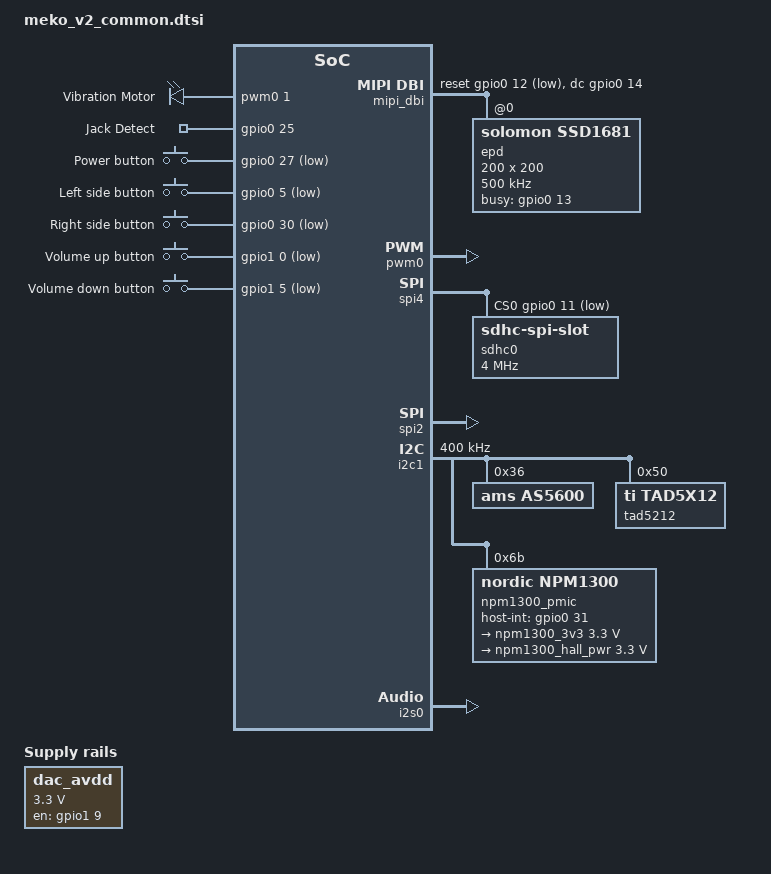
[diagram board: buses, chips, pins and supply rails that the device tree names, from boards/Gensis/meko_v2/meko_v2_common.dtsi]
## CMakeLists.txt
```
cmake_minimum_required(VERSION 3.20.0)

if(NOT DEFINED CMAKE_EXPORT_COMPILE_COMMANDS)
  set(CMAKE_EXPORT_COMPILE_COMMANDS ON CACHE BOOL "Export compile_commands.json" FORCE)
endif()

# Allow Zephyr to discover custom boards in this repository (eno-os/boards/*).
list(APPEND BOARD_ROOT ${CMAKE_CURRENT_LIST_DIR})

# Vendored SSD16XX display driver (see modules/display_ssd16xx/Kconfig).
list(APPEND ZEPHYR_EXTRA_MODULES ${CMAKE_CURRENT_LIST_DIR}/modules/display_ssd16xx)

find_package(Zephyr REQUIRED HINTS $ENV{ZEPHYR_BASE})

project(eno-os)

target_sources(app PRIVATE
  src/main.c
  src/buttons.c
  src/knob.c
  src/audio.c
  src/ui.c
  src/i1_decoder.c
  src/browser.c
  src/metadata.c
  src/art.c
  src/icons.c
  src/decoder.c
  src/flac.c
  lib/sd_card.c
  lib/helix/mp3dec.c
  lib/helix/mp3tabs.c
  lib/helix/real/bitstream.c
  lib/helix/real/buffers.c
  lib/helix/real/dct32.c
  lib/helix/real/dequant.c
  lib/helix/real/dqchan.c
  lib/helix/real/huffman.c
  lib/helix/real/hufftabs.c
  lib/helix/real/imdct.c
  lib/helix/real/polyphase.c
  lib/helix/real/scalfact.c
  lib/helix/real/stproc.c
  lib/helix/real/subband.c
  lib/helix/real/trigtabs.c
)

target_include_directories(app PRIVATE
  ${CMAKE_CURRENT_LIST_DIR}/lib
  ${CMAKE_CURRENT_LIST_DIR}/lib/helix
  ${CMAKE_CURRENT_LIST_DIR}/lib/helix/pub
  ${CMAKE_CURRENT_LIST_DIR}/lib/helix/real
)

# Helix and the FLAC decoder must decode faster than realtime; the
# app-wide -Og (debug optimizations) is too slow for 44.1 kHz stereo
set_source_files_properties(
  lib/helix/mp3dec.c
  lib/helix/mp3tabs.c
  lib/helix/real/bitstream.c
  lib/helix/real/buffers.c
  lib/helix/real/dct32.c
  lib/helix/real/dequant.c
  lib/helix/real/dqchan.c
  lib/helix/real/huffman.c
  lib/helix/real/hufftabs.c
  lib/helix/real/imdct.c
  lib/helix/real/polyphase.c
  lib/helix/real/scalfact.c
  lib/helix/real/stproc.c
  lib/helix/real/subband.c
  lib/helix/real/trigtabs.c
  src/flac.c
  PROPERTIES COMPILE_OPTIONS "-O2"
)
```

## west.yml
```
manifest:
  remotes:
    # Define the Nordic remote source
    - name: ncs
      url-base: https://github.com/nrfconnect
    - name: koeg
      url-base: https://github.com/KOEGlike

  projects:
    # Import the official nRF Connect SDK manifest
    - name: sdk-nrf
      remote: ncs
      path: nrf
      revision: v3.4.0  # <--- LOCK YOUR VERSION HERE (e.g., v2.5.0, v2.7.0, main)
      import: true      # This imports all sub-dependencies (zephyr, mbedtls, etc.)

    - name: tad5x12
      remote: koeg
      revision: main
      path: modules/lib/tad5x12
  
  self:
    # This defines where this repository (eno-os) will sit 
    # relative to the workspace root.
    path: eno-os
```

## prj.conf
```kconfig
CONFIG_MAIN_STACK_SIZE=16384
CONFIG_HEAP_MEM_POOL_SIZE=32768

CONFIG_DEBUG_OPTIMIZATIONS=y
CONFIG_DEBUG_THREAD_INFO=y

CONFIG_LOG_CMDS=y
CONFIG_LOG_DEFAULT_LEVEL=3
CONFIG_LOG_MAX_LEVEL=3

# Enable RTT
CONFIG_USE_SEGGER_RTT=y
CONFIG_SEGGER_RTT_MODE_NO_BLOCK_SKIP=y
CONFIG_SEGGER_RTT_BUFFER_SIZE_DOWN=8192
CONFIG_SEGGER_RTT_BUFFER_SIZE_UP=8192
CONFIG_SEGGER_RTT_PRINTF_BUFFER_SIZE=8192
CONFIG_RTT_CONSOLE=y

# Enable log on RTT
CONFIG_LOG=y
CONFIG_LOG_BACKEND_RTT=y
CONFIG_LOG_BACKEND_RTT_BUFFER=1
CONFIG_LOG_BACKEND_RTT_MODE_DROP=y
CONFIG_LOG_BACKEND_RTT_MODE_BLOCK=n
CONFIG_LOG_BACKEND_RTT_BUFFER_SIZE=8192
CONFIG_LOG_BACKEND_UART=n

# Log settings
CONFIG_LOG_PRINTK=y
CONFIG_LOG_MODE_DEFERRED=y
CONFIG_LOG_MODE_OVERFLOW=y
CONFIG_LOG_BLOCK_IN_THREAD=n
CONFIG_LOG_BUFFER_SIZE=8192
CONFIG_LOG_PROCESS_THREAD=y

# Shell settings
CONFIG_PRINTK=y
CONFIG_PRINTK_SYNC=y
CONFIG_SHELL=y
CONFIG_CONSOLE=y
CONFIG_RTT_CONSOLE=y
CONFIG_SHELL_BACKEND_RTT=y
CONFIG_SHELL_BACKEND_SERIAL=n
CONFIG_SHELL_MINIMAL=n
CONFIG_SHELL_STACK_SIZE=8192
CONFIG_SHELL_BYPASS_READ_BUF_SIZE=512
CONFIG_KERNEL_SHELL=y
CONFIG_DEVICE_SHELL=y
CONFIG_STATS=y
CONFIG_STATS_SHELL=y
CONFIG_STDOUT_CONSOLE=y
CONFIG_UART_CONSOLE=n

# Disable uart
CONFIG_TFM_SECURE_UART=n
CONFIG_UART_CONSOLE=n
CONFIG_TFM_LOG_LEVEL_SILENCE=y

CONFIG_REGULATOR_LOG_LEVEL_ERR=y
CONFIG_DISPLAY_LOG_LEVEL_ERR=y
CONFIG_SENSOR_LOG_LEVEL_ERR=y

# Enable file system
CONFIG_FILE_SYSTEM=y
CONFIG_DISK_ACCESS=y
CONFIG_FAT_FILESYSTEM_ELM=y
CONFIG_FS_FATFS_LFN=y
# LFN in heap mode (instead of the default BSS) is required to allow
# the re-entrancy option below
CONFIG_FS_FATFS_LFN_MODE_HEAP=y
# The audio pump thread reads files while the main thread does
# metadata/art scans: without FatFs re-entrancy (per-volume mutex)
# the shared sector window corrupts and the system crashes
CONFIG_FS_FATFS_REENTRANT=y
# pump song + APIC scan + art data handle, with shell headroom
CONFIG_FS_FATFS_NUM_FILES=6

# Enable audio stuff
CONFIG_AUDIO_CODEC_LOG_LEVEL_DBG=y
CONFIG_AUDIO_CODEC_TAD5X12=y
CONFIG_AUDIO=y
CONFIG_AUDIO_CODEC=y
CONFIG_NRFX_I2S=y
CONFIG_I2S=y
CONFIG_I2S_LOG_LEVEL_ERR=y
CONFIG_I2S_NRFX_TX_BLOCK_COUNT=16
CONFIG_I2S_NRFX_RX_BLOCK_COUNT=4

# Drivers
CONFIG_LED=y
CONFIG_GPIO=y
CONFIG_PWM=y
CONFIG_MFD=y
CONFIG_DISPLAY=y
CONFIG_REGULATOR=y
CONFIG_SENSOR=y
CONFIG_AMS_AS5600=y

# Use the vendored SSD16XX driver (gen2 partial refresh fix) instead
# of the in-tree one. See modules/display_ssd16xx/Kconfig.
CONFIG_SSD16XX=n
CONFIG_SSD16XX_EPD=y

# Codec init must run after the dac_avdd fixed regulator (priority 75)
CONFIG_AUDIO_CODEC_INIT_PRIORITY=80

# LVGL CONFIG
CONFIG_LVGL=y
# LVGL's I1 buffer marks white pixels as 1; without this the mono
# transform renders the screen color-inverted on EPD panels
CONFIG_LV_Z_COLOR_MONO_HW_INVERSION=y
CONFIG_LV_Z_SHELL=y
CONFIG_LV_Z_LVGL_MUTEX=y
CONFIG_LV_COLOR_DEPTH_1=y
CONFIG_LV_Z_VDB_SIZE=64
# +1 KB slack: the LVGL heap pool ends directly before the idle
# thread TCB; a pool-tail allocation overflowing its chunk was
# corrupting idle's saved context (wild-jump crashes). The slack
# keeps such overflows inside the pool.
CONFIG_LV_Z_MEM_POOL_SIZE=17408
# Catch heap metadata damage early (asserts inside sys_heap/lvgl)
CONFIG_ASSERT=y
# real numbers for the periodic LVGL heap stats log
CONFIG_SYS_HEAP_RUNTIME_STATS=y
CONFIG_LV_Z_FULL_REFRESH=n
# Flush synchronously: e-ink updates are slow anyway, and it keeps
# display_blanking_on/off() calls in the app race-free with flushes
CONFIG_LV_Z_FLUSH_THREAD=n
CONFIG_LV_USE_LOG=y
CONFIG_LV_LOG_LEVEL_WARN=y

# Debug stack corruption
CONFIG_THREAD_STACK_INFO=y
CONFIG_STACK_SENTINEL=y
CONFIG_HW_STACK_PROTECTION=y
CONFIG_ISR_STACK_SIZE=8192

# Corruption diagnostics: the LVGL heap pool sits directly before the
# idle thread TCB; a pool-tail overflow corrupts idle's saved context
# (wild-jump crashes). INIT_STACKS fills unused stack with 0xaa so
# garbage registers in fault dumps are recognizable; THREAD_ANALYZER
# reports per-thread stack headroom over RTT; THREAD_NAME labels it.
CONFIG_INIT_STACKS=y
CONFIG_THREAD_ANALYZER=y
CONFIG_THREAD_NAME=y
CONFIG_THREAD_ANALYZER_AUTO=y
CONFIG_REBOOT=y
CONFIG_MAIN_STACK_SIZE=20480
# The e-ink refresh inside the main loop busy-waits ~200-300 ms per
# update; the audio pump (priority 1) must preempt it or the I2S
# queue starves during every screen update at high sample rates
CONFIG_MAIN_THREAD_PRIORITY=2
# nRF5340 anomaly 160: VREGMAIN/VREGRADIO can malfunction when the
# CPU rapidly switches between active and sleep (observed here as
# corrupted instruction fetches -> undefined-instruction faults, and
# SD "Bad data CRC" wire errors, both during sleep/wake-heavy audio
# playback). The Zephyr workaround (rate-limiting sleep re-entry in
# the idle path) is only auto-enabled for DC/DC-mode regulators; our
# board runs LDO mode, but the same failure signature applies, so
# force the workaround on.
CONFIG_SOC_NRF53_ANOMALY_160_WORKAROUND_NEEDED=y

# Caches on: without I-cache, XIP code runs a fraction of speed and
# MP3 decode can't sustain realtime. nRF53's cache is system-coherent
# for EasyDMA masters, and the I2S slab is owned end-to-end now.
CONFIG_NRF_ENABLE_CACHE=y

# Logging thread stack (deferred logging can be stack-heavy)
CONFIG_LOG_PROCESS_THREAD_STACK_SIZE=2048

# Enable LVGL widgets
CONFIG_LV_CONF_MINIMAL=y
CONFIG_LV_USE_LABEL=y
CONFIG_LV_LABEL_TEXT_SELECTION=y
CONFIG_LV_LABEL_LONG_TXT_HINT=y
CONFIG_LV_USE_LINE=y

# fonts
CONFIG_LV_FONT_MONTSERRAT_12=y
CONFIG_LV_FONT_MONTSERRAT_14=y
CONFIG_LV_FONT_MONTSERRAT_16=y
CONFIG_LV_FONT_MONTSERRAT_18=y
CONFIG_LV_FONT_MONTSERRAT_24=y

# image widget + baseline JPEG decoder for the album art player view
CONFIG_LV_USE_IMAGE=y
CONFIG_LV_USE_TJPGD=y
```

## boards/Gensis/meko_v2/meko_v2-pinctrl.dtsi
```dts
&pinctrl {
    i2s0_default: i2s0_default {
        group2 {
            psels = <NRF_PSEL(I2S_SCK_M, 0, 26)>,
                    <NRF_PSEL(I2S_LRCK_M, 0, 24)>,
                    <NRF_PSEL(I2S_SDOUT, 1, 6)>,
                    <NRF_PSEL(I2S_SDIN, 1, 8)>;
        };
    };

    i2s0_sleep: i2s0_sleep {
        group1 {
            psels = <NRF_PSEL(I2S_SCK_M, 0, 26)>,
                    <NRF_PSEL(I2S_LRCK_M, 0, 24)>,
                    <NRF_PSEL(I2S_SDOUT, 1, 6)>,
                    <NRF_PSEL(I2S_SDIN, 1, 8)>;
            low-power-enable;
        };
    };

    pwm0_default: pwm0_default {
        group1 {
            psels = <NRF_PSEL(PWM_OUT1, 1, 15)>;
        };
    };

    pwm0_sleep: pwm0_sleep {
        group1 {
            psels = <NRF_PSEL(PWM_OUT1, 1, 15)>;
            low-power-enable;
        };
    };

    spi4_default: spi4_default {
        group1 {
            psels = <NRF_PSEL(SPIM_SCK, 0, 8)>,
                    <NRF_PSEL(SPIM_MOSI, 0, 9)>;
            /* Workaround for issue with PCA10121 v0.7.0
             * related to SD-card
             */
            nordic,drive-mode = <NRF_DRIVE_H0H1>;
        };

        group2 {
            psels = <NRF_PSEL(SPIM_MISO, 0, 10)>;
        };
    };

    spi4_sleep: spi4_sleep {
        group1 {
            psels = <NRF_PSEL(SPIM_SCK, 0, 8)>,
                    <NRF_PSEL(SPIM_MISO, 0, 10)>,
                    <NRF_PSEL(SPIM_MOSI, 0, 9)>;
            low-power-enable;
        };
    };

    spi2_default: spi2_default {
        group1 {
            psels = <NRF_PSEL(SPIM_SCK, 0, 15)>,
                    <NRF_PSEL(SPIM_MOSI, 0, 17)>; /* DIN */
                };
    };

    spi2_sleep: spi2_sleep {
        group1 {
            psels = <NRF_PSEL(SPIM_SCK, 0, 15)>,
                    <NRF_PSEL(SPIM_MOSI, 0, 17)>;
            low-power-enable;
        };
    };

    i2c1_default: i2c1_default {
        group1 {
            psels = <NRF_PSEL(TWIM_SDA, 1, 2)>,
                    <NRF_PSEL(TWIM_SCL, 1, 3)>;
            bias-pull-up;

        };
    };

    i2c1_sleep: i2c1_sleep {
        group1 {
            psels = <NRF_PSEL(TWIM_SDA, 1, 2)>,
                    <NRF_PSEL(TWIM_SCL, 1, 3)>;
            low-power-enable;
        };
    };
};
```

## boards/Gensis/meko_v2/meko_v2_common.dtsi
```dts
#include <zephyr/dt-bindings/mipi_dbi/mipi_dbi.h>
#include <dt-bindings/regulator/npm13xx.h>

/ {

    chosen {
        zephyr,display=&epd;
    };

    aliases {
        vib-motor = &vib_motor;
    };

    pwm_motor_driver {
        compatible = "pwm-leds";

        vib_motor: vib_motor {
            pwms = <&pwm0 1 PWM_MSEC(20) PWM_POLARITY_NORMAL>;
            label = "Vibration Motor";
        };
    };

    dac_avdd: dac-avdd {
        compatible = "regulator-fixed";
        regulator-name = "sensor_supply";

        regulator-min-microvolt = <3300000>;
        regulator-max-microvolt = <3300000>;

        enable-gpios = <&gpio1 9 GPIO_ACTIVE_HIGH>;

        startup-delay-us = <1000>;
        regulator-boot-on;
    };

    jack_det {
        compatible = "gpio-keys";
        jack_insert: jack_insert {
            gpios = <&gpio0 25 (GPIO_PULL_UP | GPIO_ACTIVE_HIGH)>;
            label = "Jack Detect";
        };
    };

    buttons {
        compatible = "gpio-keys";

        debounce-interval-ms = <300>;

        button_power: button-0 {
            gpios = <&gpio0 27 (GPIO_PULL_UP | GPIO_ACTIVE_LOW)>;
            label = "Power button";
            zephyr,code = <INPUT_KEY_0>;
        };

        button_side_left: button-1 {
            gpios = <&gpio0 5 (GPIO_PULL_UP | GPIO_ACTIVE_LOW)>;
            label = "Left side button";
            zephyr,code = <INPUT_KEY_1>;
        };

        button_side_right: button-2 {
            gpios = <&gpio0 30 (GPIO_PULL_UP | GPIO_ACTIVE_LOW)>;
            label = "Right side button";
            zephyr,code = <INPUT_KEY_2>;
        };

        button_volume_up: button-3 {
            gpios = <&gpio1 0 (GPIO_PULL_UP | GPIO_ACTIVE_LOW)>;
            label = "Volume up button";
            zephyr,code = <INPUT_KEY_3>;
        };

        button_volume_down: button-4 {
            gpios = <&gpio1 5 (GPIO_PULL_UP | GPIO_ACTIVE_LOW)>;
            label = "Volume down button";
            zephyr,code = <INPUT_KEY_4>;
        };
    };

    mipi_dbi {
        status = "okay";
        compatible = "zephyr,mipi-dbi-spi";
        spi-dev = <&spi2>;

        dc-gpios = <&gpio0  14 GPIO_ACTIVE_HIGH>;
        reset-gpios = <&gpio0 12 GPIO_ACTIVE_LOW>;

        #address-cells = <1>;
        #size-cells = <0>;

        epd: ssd16xx@0 {
            status = "okay";
            compatible = "solomon,ssd1681";
            mipi-max-frequency = <500000>;
            reg = <0>;

            width = <200>;
            height = <200>;

            rotation = <270>;

            busy-gpios = <&gpio0 13 GPIO_ACTIVE_HIGH>;

            tssv = <0x80>;

            full {
                border-waveform = <0x05>;
            };

            partial {
                /*
                 * Partial refresh waveform for SSD1681-based 200x200
                 * panels (Waveshare/GoodDisplay WF_PARTIAL_1IN54_0).
                 * lut is the 0x32 payload; the remaining table entries
                 * map to gdv (0x03), sdv (0x04) and vcom (0x2C). The
                 * vendored driver additionally writes the vendor
                 * "Option for LUT end" value (0x3F) for this profile.
                 */
                border-waveform = <0x80>;
                vcom = <0x28>;
                gdv = [17];
                sdv = [41 b0 32];
                lut = [
                    00 40 00 00 00 00 00 00 00 00 00 00
                    80 80 00 00 00 00 00 00 00 00 00 00
                    40 40 00 00 00 00 00 00 00 00 00 00
                    00 80 00 00 00 00 00 00 00 00 00 00
                    00 00 00 00 00 00 00 00 00 00 00 00
                    0f 00 00 00 00 00 00
                    01 01 00 00 00 00 00
                    00 00 00 00 00 00 00
                    00 00 00 00 00 00 00
                    00 00 00 00 00 00 00
                    00 00 00 00 00 00 00
                    00 00 00 00 00 00 00
                    00 00 00 00 00 00 00
                    00 00 00 00 00 00 00
                    00 00 00 00 00 00 00
                    00 00 00 00 00 00 00
                    00 00 00 00 00 00 00
                    22 22 22 22 22 22 00 00 00
                ];
            };
        };
    };
};

&pwm0 {
    status = "okay";
    pinctrl-0 = <&pwm0_default>;
    pinctrl-1 = <&pwm0_sleep>;
    pinctrl-names = "default", "sleep";
};

&gpio0 {
    status = "okay";
};

&gpio1 {
    status = "okay";
};

&gpiote {
    status = "okay";
};

&hfxo {
    load-capacitors = "internal";
    load-capacitance-femtofarad = <12000>;
};

&lfxo {
    load-capacitors = "internal";
    load-capacitance-picofarad = <7>;
};

&spi4 {
    compatible = "nordic,nrf-spim";
    status = "okay";
    cs-gpios = <&gpio0 11 GPIO_ACTIVE_LOW>;
    pinctrl-0 = <&spi4_default>;
    pinctrl-1 = <&spi4_sleep>;
    pinctrl-names = "default", "sleep";

	sdhc0: sdhc@0 {
		compatible = "zephyr,sdhc-spi-slot";
		reg = <0>;
		status = "okay";
		/* 4 MHz: 8 MHz produced "Bad data CRC" hardware errors
		 * under load (SPI signal margin), while 2 MHz is too
		 * slow for 44.1 kHz FLAC reads. If CRC errors ever
		 * reappear, drop back to 2000000 and widen the pump
		 * queue instead.
		 */
		spi-max-frequency = <4000000>;

        sdmmc {
            compatible = "zephyr,sdmmc-disk";
            disk-name = "SD";
            status = "okay";
        };
    };
};

&spi2 {
    compatible = "nordic,nrf-spim";
    status = "okay";
    pinctrl-0 = <&spi2_default>;
    pinctrl-1 = <&spi2_sleep>;
    pinctrl-names = "default", "sleep";
    cs-gpios = <&gpio0 16 GPIO_ACTIVE_LOW>;
};

&i2c1 {
    compatible = "nordic,nrf-twim";
    status = "okay";
    pinctrl-0 = <&i2c1_default>;
    pinctrl-1 = <&i2c1_sleep>;
    pinctrl-names = "default", "sleep";
    clock-frequency = <I2C_BITRATE_FAST>;

    as5600: as5600@36 {
        compatible = "ams,as5600";
        reg = <0x36>;

        friendly-name = "hall rotation sensor";
    };

    tad5212: tad5212@50 {
        compatible = "ti,tad5x12";
        status = "okay";

        reg = <0x50>;

        ti,out1-src = <1>;        /* DAC input */
        ti,out1-cfg = <2>;        /* mono single-ended at OUT1P */
        ti,out1-drive = <1>;      /* headphone */
        ti,out1-analog-level = <4>; /* 0 dB */
        ti,out2-src = <1>;        /* DAC input */
        ti,out2-cfg = <2>;        /* mono single-ended at OUT2P */
        ti,out2-drive = <1>;      /* headphone */
        ti,out2-analog-level = <4>; /* 0 dB */
    };

    npm1300_pmic: npm1300@6b {
        compatible = "nordic,npm1300";
        reg = <0x6b>;

        host-int-gpios = <&gpio0 31 0>;
        pmic-int-pin = <1>;

        npm1300_leds: led-controller {
            compatible = "nordic,npm1300-led";

            nordic,led0-mode = "host";
            nordic,led1-mode = "host";
            nordic,led2-mode = "host";
        };

        npm1300_charger: charger {
            compatible = "nordic,npm1300-charger";
            term-microvolt = <4150000>;
            term-warm-microvolt = <4000000>;
            current-microamp = <150000>;
            dischg-limit-microamp = <1000000>;
            vbus-limit-microamp = <500000>;
            thermistor-ohms = <10000>;
            thermistor-beta = <3380>;
            charging-enable;
        };


        npm1300_regulators: regulators {
            compatible = "nordic,npm1300-regulator";

            npm1300_buck1: BUCK1 {
                status = "disabled";
            };

            npm1300_3v3: BUCK2 {
                regulator-min-microvolt = <3300000>;
                regulator-max-microvolt = <3300000>;
                regulator-boot-on;
            };

            npm1300_hall_pwr: LDO1 {
                regulator-min-microvolt = <3300000>;
                regulator-max-microvolt = <3300000>;
                regulator-initial-mode = <NPM13XX_LDSW_MODE_LDO>;
                regulator-boot-on;
            };

            npm1300_ldo2: LDO2 {
                status = "disabled";
            };
        };
    };
};

&i2s0 {
    compatible = "nordic,nrf-i2s";
    status = "okay";
    pinctrl-0 = <&i2s0_default>;
    pinctrl-1 = <&i2s0_sleep>;
    pinctrl-names = "default", "sleep";
};
```

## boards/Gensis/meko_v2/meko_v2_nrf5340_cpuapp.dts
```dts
/dts-v1/;
#include <nordic/nrf5340_cpuapp_qkaa.dtsi>
#include "meko_v2-pinctrl.dtsi"
#include "meko_v2_common.dtsi"

/ {
	model = "a music player (CPUAPP)";
	compatible = "Gensis,meko-v2-cpuapp";

	chosen {
		zephyr,sram = &sram0_image;
		zephyr,flash = &flash0;
		zephyr,code-partition = &slot0_partition;
		zephyr,sram-secure-partition = &sram0_s;
		zephyr,sram-non-secure-partition = &sram0_ns;
	};
};

#include "meko_v2-cpuapp_partitioning.dtsi"
#include "meko_v2-shared_sram.dtsi"
```

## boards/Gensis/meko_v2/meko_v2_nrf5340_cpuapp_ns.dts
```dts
/dts-v1/;
#include <nordic/nrf5340_cpuappns_qkaa.dtsi>
#include "meko_v2-pinctrl.dtsi"
#include "meko_v2_common.dtsi"

/ {
	model = "a music player (CPUAPP Non-Secure)";
	compatible = "Gensis,meko-v2-cpuapp-ns";

	chosen {
		zephyr,sram = &sram0_ns;
		zephyr,flash = &flash0;
		zephyr,code-partition = &slot0_ns_partition;
	};
};

#include "meko_v2-cpuapp_partitioning.dtsi"
#include "meko_v2-shared_sram.dtsi"
```

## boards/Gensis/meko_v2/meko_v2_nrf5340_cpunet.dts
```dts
/dts-v1/;
#include <nordic/nrf5340_cpunet_qkaa.dtsi>
#include "meko_v2-pinctrl.dtsi"
#include "meko_v2_common.dtsi"

/ {
	model = "a music player";
	compatible = "Gensis,meko-v2-cpunet";

	chosen {
		zephyr,sram = &sram1;
		zephyr,flash = &flash1;
		zephyr,code-partition = &slot0_partition;
	};
};

&flash1 {
	partitions {
		compatible = "fixed-partitions";
		#address-cells = <1>;
		#size-cells = <1>;

		boot_partition: partition@0 {
			label = "mcuboot";
			reg = <0x00000000 DT_SIZE_K(48)>;
		};

		slot0_partition: partition@c000 {
			label = "image-0";
			reg = <0x0000c000 DT_SIZE_K(92)>;
		};

		slot1_partition: partition@23000 {
			label = "image-1";
			reg = <0x00023000 DT_SIZE_K(92)>;
		};

		storage_partition: partition@3a000 {
			label = "storage";
			reg = <0x0003a000 DT_SIZE_K(24)>;
		};
	};
};

#include "meko_v2-shared_sram.dtsi"
```

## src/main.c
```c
#include <zephyr/kernel.h>
#include <zephyr/logging/log.h>
#include <zephyr/fatal.h>
#include <zephyr/logging/log.h>
#include <zephyr/sys/reboot.h>
#include <zephyr/sys/mem_stats.h>
#include <string.h>

#include <lvgl.h>
#include <lvgl_zephyr.h>

#include "main.h"
#include "sd_card.h"
#include "buttons.h"
#include "knob.h"
#include "audio.h"
#include "ui.h"
#include "browser.h"

LOG_MODULE_REGISTER(MAIN, LOG_LEVEL_DBG);

/* The board exhibits rare transient flash-read corruption under load
 * (fault dumps show garbage literal loads inside _isr_wrapper and
 * undefined instructions at valid code; confirmed with two different
 * SD cards). A warm reboot fully restores function and the boot flow
 * never triggers the fault, so auto-recover instead of freezing.
 */
void k_sys_fatal_error_handler(unsigned int reason, const struct arch_esf *esf)
{
	LOG_ERR("Fatal %u pc 0x%08x lr 0x%08x -- rebooting",
		reason,
		(esf != NULL) ? esf->basic.pc : 0,
		(esf != NULL) ? esf->basic.lr : 0);
	sys_reboot(SYS_REBOOT_WARM);

	CODE_UNREACHABLE;
}

/* LVGL heap diagnostics: the LVGL pool sits directly before the idle
 * thread TCB; periodic headroom logs watch for allocation pressure
 * near the pool end while the corruption source is investigated.
 */
extern void lvgl_heap_stats(struct sys_memory_stats *stats);

static struct app_state app = {
	.browser = {
		.cwd = "/SD:",
		.count = 0,
		.selected = 0,
		.scroll_top = 0,
	},
	.ui_mode = UI_MODE_BROWSER,
	.playing_path = {0},
	.playing_dir = {0},
	.playback_state = PLAYBACK_STOPPED,
	.file_open = false,
	.i2s_started = false,
	.elapsed_s = 0,
	.total_s = 0,
	.shuffle = false,
	.loop = false,
	.ui_dirty = true,
	.art_dirty = true,
};

/* Scratch listing for shuffle/next/prev on the playing folder */
static struct browser_entry playlist_entries[MAX_BROWSER_ENTRIES];

/* ------------------------------------------------------------------ */
/* Playback control                                                    */
/* ------------------------------------------------------------------ */

static const char *path_basename(const char *path)
{
	const char *slash = strrchr(path, '/');

	return (slash != NULL) ? slash + 1 : path;
}

static int play_path(struct app_state *state, const char *path, const char *dir)
{
	/* a song explicitly started by the user cancels a pending
	 * auto-advance from a song that just ended
	 */
	atomic_set(&state->advance_request, 0);

	int ret = start_song(state, path);

	if (ret)
	{
		LOG_ERR("Start %s failed: %d", path, ret);
		return ret;
	}

	strncpy(state->playing_path, path, sizeof(state->playing_path) - 1);
	state->playing_path[sizeof(state->playing_path) - 1] = '\0';
	strncpy(state->playing_dir, dir, sizeof(state->playing_dir) - 1);
	state->playing_dir[sizeof(state->playing_dir) - 1] = '\0';
	state->art_dirty = true;

	return 0;
}

static int restart_song(struct app_state *state)
{
	if (state->playing_path[0] == '\0')
	{
		return -ENOENT;
	}

	/* restart reloads the file from byte 0 and plays */
	return play_path(state, state->playing_path, state->playing_dir);
}

/* Find the currently playing entry in a fresh listing of its folder */
static int find_playing_entry(const char *playing_name,
	const struct browser_entry *entries, int count)
{
	for (int i = 0; i < count; i++)
	{
		if (entries[i].is_audio && strcmp(entries[i].name, playing_name) == 0)
		{
			return i;
		}
	}
	return -1;
}

static int next_audio_entry(const struct browser_entry *entries, int count, int from,
	bool forward, bool random)
{
	int audio[MAX_BROWSER_ENTRIES];
	int audio_count = 0;

	for (int i = 0; i < count; i++)
	{
		if (entries[i].is_audio)
		{
			audio[audio_count++] = i;
		}
	}

	if (audio_count == 0)
	{
		return -1;
	}

	if (random)
	{
		if (audio_count == 1)
		{
			return audio[0];
		}

		/* cheap LCG seeded once from the cycle counter: fine for
		 * shuffle play (no crypto needed)
		 */
		static uint32_t rnd;
		static bool seeded;

		if (!seeded)
		{
			rnd = 0x1234abcd ^ k_cycle_get_32();
			seeded = true;
		}
		rnd = rnd * 1664525u + 1013904223u;

		uint32_t pick = rnd % (uint32_t)(audio_count - 1);
		int pos = 0;

		for (int i = 0; i < audio_count; i++)
		{
			if (audio[i] == from)
			{
				pos = i;
				break;
			}
		}
		return audio[(pos + 1 + (int)pick) % audio_count];
	}

	int pos = -1;

	for (int i = 0; i < audio_count; i++)
	{
		if (audio[i] == from)
		{
			pos = i;
			break;
		}
	}
	if (pos < 0)
	{
		pos = 0;
	}

	return forward ? audio[(pos + 1) % audio_count]
		       : audio[(pos + audio_count - 1) % audio_count];
}

static int skip_song(struct app_state *state, bool forward)
{
	char path[MAX_PATH_LEN];
	int idx;

	if (state->playing_dir[0] == '\0')
	{
		return -ENOENT;
	}

	int count = browser_scan_dir(state->playing_dir,
		playlist_entries, MAX_BROWSER_ENTRIES, false);
	if (count <= 0)
	{
		return -ENOENT;
	}

	int from = find_playing_entry(path_basename(state->playing_path),
		playlist_entries, count);

	idx = next_audio_entry(playlist_entries, count, from, forward, state->shuffle);
	if (idx < 0)
	{
		return -ENOENT;
	}

	path_join(state->playing_dir, playlist_entries[idx].name, path, sizeof(path));

	return play_path(state, path, state->playing_dir);
}

/* Called when the pump reports end-of-song: loop repeats the current
 * song, shuffle picks a random other one from the same folder,
 * otherwise play the next one
 */
static void advance_auto(struct app_state *state)
{
	if (state->loop)
	{
		if (restart_song(state))
		{
			stop_playback(state, true, true);
		}
		return;
	}

	if (skip_song(state, true))
	{
		stop_playback(state, true, true);
	}
}

/* ------------------------------------------------------------------ */
/* UI mode + button handling                                           */
/* ------------------------------------------------------------------ */

static void toggle_mode(struct app_state *state)
{
	state->ui_mode = (state->ui_mode == UI_MODE_BROWSER) ? UI_MODE_PLAYER
							     : UI_MODE_BROWSER;
	if (state->ui_mode == UI_MODE_PLAYER)
	{
		state->art_dirty = true;
	}
	ui_switch_mode(state->ui_mode);
	state->ui_dirty = true;
}

static void browser_single_left(struct app_state *state)
{
	/* go up a directory; at the root this is a no-op */
	if (browser_up(&state->browser))
	{
		state->ui_dirty = true;
	}
}

static void browser_single_right(struct app_state *state)
{
	struct browser_ctx *br = &state->browser;

	if (br->count == 0)
	{
		return;
	}

	struct browser_entry *e = &br->entries[br->selected];

	if (e->is_dir)
	{
		if (browser_enter_selected(br))
		{
			state->ui_dirty = true;
		}
		return;
	}

	if (e->is_audio)
	{
		char path[MAX_PATH_LEN];

		browser_selected_path(br, path, sizeof(path));
		if (play_path(state, path, br->cwd))
		{
			stop_playback(state, true, true);
		}
	}
}

/* Single press dispatch and multi-press (double press etc.) logic.
 * Side button presses are counted inside a window; when the window
 * expires the accumulated count picks the action:
 *   left:  1 = up dir / toggle shuffle, 2 = restart song, 3+ = prev
 *   right: 1 = enter dir / play song / toggle loop, 2+ = next song
 * Presses on both side buttons inside COMBO_WINDOW_MS switch the UI
 * mode instead.
 */
#define MULTI_PRESS_WINDOW_MS 300
/* "both side buttons at once" - humans pressing together land within
 * ~50 ms; keep the window tight so sequential single presses of the
 * two buttons are not misread as a combo
 */
#define COMBO_WINDOW_MS 80
/* A double press that follows a restart this closely is treated as
 * the spec's "double press again" -> previous song
 */
#define RESTART_CHAIN_MS 800

struct side_button_ctx {
	int pending;
	int64_t deadline;
	int64_t last_press;
};

static struct side_button_ctx left_ctx;
static struct side_button_ctx right_ctx;

static void side_press(struct app_state *state, struct side_button_ctx *btn,
	struct side_button_ctx *other)
{
	int64_t now = k_uptime_get();

	if (now - other->last_press <= COMBO_WINDOW_MS)
	{
		/* both side buttons: mode switch wins, cancel everything
		 * pending on either button and drop both timestamps so a
		 * third quick press cannot re-trigger the combo
		 */
		btn->pending = 0;
		other->pending = 0;
		other->last_press = 0;
		btn->last_press = 0;
		toggle_mode(state);
		return;
	}

	/* re-arm on every press so a "double press again" (for prev
	 * song) is recognized even when it comes after the previous
	 * window already dispatched
	 */
	btn->deadline = now + MULTI_PRESS_WINDOW_MS;
	btn->pending++;
	btn->last_press = now;
}

static void side_button_dispatch(struct app_state *state, struct side_button_ctx *btn,
	bool is_left, int64_t now)
{
	int n;
	static int64_t last_restart_ms;

	if (btn->pending == 0 || now < btn->deadline)
	{
		return;
	}

	n = btn->pending;
	btn->pending = 0;

	if (is_left)
	{
		if (n == 1)
		{
			last_restart_ms = 0;
			if (state->ui_mode == UI_MODE_BROWSER)
			{
				browser_single_left(state);
			}
			else
			{
				state->shuffle = !state->shuffle;
				state->ui_dirty = true;
			}
		}
		else if (n == 2)
		{
			/* "double press again" = previous song: a restart
			 * that follows a recent restart is actually the
			 * user going back
			 */
			if (last_restart_ms != 0 && now - last_restart_ms <= RESTART_CHAIN_MS)
			{
				last_restart_ms = 0;
				if (skip_song(state, false))
				{
					stop_playback(state, true, true);
				}
			}
			else
			{
				last_restart_ms = now;
				if (restart_song(state))
				{
					stop_playback(state, true, true);
				}
			}
		}
		else
		{
			last_restart_ms = 0;
			if (skip_song(state, false))
			{
				stop_playback(state, true, true);
			}
		}
	}
	else
	{
		if (n == 1)
		{
			if (state->ui_mode == UI_MODE_BROWSER)
			{
				browser_single_right(state);
			}
			else
			{
				state->loop = !state->loop;
				state->ui_dirty = true;
			}
		}
		else
		{
			if (skip_song(state, true))
			{
				stop_playback(state, true, true);
			}
		}
	}
}

static void handle_buttons(struct app_state *state)
{
	int events;
	int64_t now = k_uptime_get();
	static int64_t last_power_action;

	/* Collapse power-button bursts (bounces, impatient double
	 * presses) into one action. Play/pause only: songs are picked
	 * in the browser.
	 */
	events = buttons_take_power_events();
	if (events > 0 && (now - last_power_action) >= 500)
	{
		last_power_action = now;

		int ret = 0;

		if (state->playback_state == PLAYBACK_PLAYING)
		{
			ret = pause_song(state);
		}
		else if (state->playback_state == PLAYBACK_PAUSED)
		{
			ret = resume_song(state);
		}

		if (ret)
		{
			LOG_ERR("Power action failed: %d", ret);
			stop_playback(state, true, true);
		}
	}

	events = buttons_take_left_events();
	for (int i = 0; i < events; i++)
	{
		side_press(state, &left_ctx, &right_ctx);
	}

	events = buttons_take_right_events();
	for (int i = 0; i < events; i++)
	{
		side_press(state, &right_ctx, &left_ctx);
	}

	(void)side_button_dispatch(state, &left_ctx, true, now);
	(void)side_button_dispatch(state, &right_ctx, false, now);

	events = buttons_take_volume_up_events();
	for (int i = 0; i < events; i++)
	{
		audio_volume_step(AUDIO_VOLUME_STEP_DB);
	}

	events = buttons_take_volume_down_events();
	for (int i = 0; i < events; i++)
	{
		audio_volume_step(-AUDIO_VOLUME_STEP_DB);
	}
}

/* ------------------------------------------------------------------ */

int main(void)
{
	int ret;
	int64_t last_lvgl_handler_ms = 0;

	LOG_INF("eno-os: LVGL player starting");

	ret = sd_card_init();
	if (ret)
	{
		LOG_ERR("SD card init failed: %d", ret);
		return ret;
	}

	ret = init_audio();
	if (ret)
	{
		LOG_ERR("Audio init failed: %d", ret);
		return ret;
	}

	ret = ui_init();
	if (ret)
	{
		LOG_ERR("UI init failed: %d", ret);
		return ret;
	}

	ret = browser_open_dir(&app.browser, "/SD:");
	if (ret)
	{
		LOG_ERR("Failed to list SD root: %d", ret);
	}

	ret = init_buttons();
	if (ret)
	{
		LOG_ERR("Button init failed: %d", ret);
		return ret;
	}

	ret = init_knob();
	if (ret)
	{
		LOG_ERR("Knob init failed: %d", ret);
		return ret;
	}

	ui_refresh(&app);

	while (1)
	{
		bool did_ui_refresh = false;
		int knob_steps;
		int64_t now_ms;

		handle_buttons(&app);

		/* song finished: advance (shuffle/loop aware) */
		if (atomic_get(&app.advance_request))
		{
			atomic_set(&app.advance_request, 0);
			advance_auto(&app);
		}

		if (app.ui_mode == UI_MODE_BROWSER)
		{
			knob_steps = knob_poll();
			if (knob_steps != 0 &&
				browser_move_selection(&app.browser, knob_steps))
			{
				knob_haptic_pulse();
				app.ui_dirty = true;
			}
		}
		else
		{
			/* keep the hall sensor baseline fresh and discard
			 * any accumulated travel (unconditionally, so
			 * returning to the browser never produces phantom
			 * scrolls)
			 */
			knob_poll();
			knob_discard();
		}

		if (app.ui_dirty)
		{
			ui_refresh(&app);
			app.ui_dirty = false;
			did_ui_refresh = true;
			ui_full_refresh_check(&app);
		}

		now_ms = k_uptime_get();

		static int64_t last_heap_log_ms;

		if (now_ms - last_heap_log_ms >= 30000)
		{
			struct sys_memory_stats stats;

			lvgl_heap_stats(&stats);
			last_heap_log_ms = now_ms;
			LOG_INF("LVGL heap: free %zu allocated %zu peak %zu",
				stats.free_bytes, stats.allocated_bytes,
				stats.max_allocated_bytes);
		}

		if ((app.playback_state != PLAYBACK_PLAYING || did_ui_refresh) &&
			(now_ms - last_lvgl_handler_ms) >= 50)
		{
			lvgl_lock();
			lv_timer_handler();
			lvgl_unlock();
			last_lvgl_handler_ms = now_ms;
		}

		k_msleep(5);
	}
}
```

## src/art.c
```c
#include <zephyr/kernel.h>
#include <zephyr/logging/log.h>
#include <zephyr/fs/fs.h>
#include <string.h>

#include <lvgl.h>
#include "libs/tjpgd/tjpgd.h"

#include "art.h"
#include "icons.h"
#include "metadata.h"
#include "sd_card.h"

LOG_MODULE_REGISTER(ART, LOG_LEVEL_INF);

/* TJpgDec working pool: prepare area + one MCU of RGB888 output.
 * Kept small: the helix MP3 decoder allocates its buffers from the
 * same heap, so art decode (which can run during playback) must
 * leave headroom. 6 KB covers prepare + 4:2:0 MCU at JD_SZBUF=512.
 */
#define ART_JPEG_POOL_SIZE 6144

/* 4x4 ordered (Bayer) dither matrix, 0..15 */
static const uint8_t bayer4[16] = {
	0, 8, 2, 10,
	12, 4, 14, 6,
	3, 11, 1, 9,
	15, 7, 13, 5,
};

/* TJpgDec has a single device pointer shared by both callbacks */
struct art_ctx {
	struct fs_file_t *file;
	size_t remaining;
	/* dither output */
	uint8_t *canvas;
	int scale_q16; /* source -> dest scale, 16.16 */
	int off_x;
	int off_y;
};

static size_t art_in_func(JDEC *jd, uint8_t *buff, size_t n)
{
	struct art_ctx *ctx = (struct art_ctx *)jd->device;

	if (ctx->remaining < n)
	{
		n = ctx->remaining;
	}

	if (buff == NULL)
	{
		/* skip n bytes (decompressed data not needed) */
		if (fs_seek(ctx->file, (off_t)n, FS_SEEK_CUR))
		{
			return 0;
		}
		ctx->remaining -= n;
		return n;
	}

	if (n == 0)
	{
		return 0;
	}

	ssize_t got = fs_read(ctx->file, buff, n);

	if (got <= 0)
	{
		return 0;
	}
	ctx->remaining -= (size_t)got;
	return (size_t)got;
}

static int art_out_func(JDEC *jd, void *data, JRECT *rect)
{
	struct art_ctx *ctx = (struct art_ctx *)jd->device;
	uint8_t *src = (uint8_t *)data;
	int src_w = rect->right - rect->left + 1;
	int dx0, dx1, dy0, dy1;

	/* dest rect covered by this source rect (nearest mapping) */
	dy0 = ctx->off_y + (((int)rect->top * ctx->scale_q16) >> 16);
	dy1 = ctx->off_y + (((int)rect->bottom * ctx->scale_q16) >> 16);
	dx0 = ctx->off_x + (((int)rect->left * ctx->scale_q16) >> 16);
	dx1 = ctx->off_x + (((int)rect->right * ctx->scale_q16) >> 16);

	if (dy0 < 0)
	{
		dy0 = 0;
	}
	if (dx0 < 0)
	{
		dx0 = 0;
	}
	if (dy1 >= ART_H)
	{
		dy1 = ART_H - 1;
	}
	if (dx1 >= ART_W)
	{
		dx1 = ART_W - 1;
	}

	for (int dy = dy0; dy <= dy1; dy++)
	{
		/* inverse-map the dest row back to a source row, clamped
		 * into the rect being delivered
		 */
		int sy = (int)(((int64_t)(dy - ctx->off_y) << 16) / ctx->scale_q16);
		int sy0 = (int)rect->top;
		int sy1 = (int)rect->bottom;

		if (sy < sy0)
		{
			sy = sy0;
		}
		if (sy > sy1)
		{
			sy = sy1;
		}

		for (int dx = dx0; dx <= dx1; dx++)
		{
			int sx = (int)(((int64_t)(dx - ctx->off_x) << 16) / ctx->scale_q16);
			const uint8_t *px;
			uint8_t gray;
			uint8_t th;

			if (sx < (int)rect->left)
			{
				sx = rect->left;
			}
			if (sx > (int)rect->right)
			{
				sx = rect->right;
			}

			px = src + ((sy - (int)rect->top) * src_w + (sx - (int)rect->left)) * 3;
			gray = (uint8_t)((px[0] * 77 + px[1] * 151 + px[2] * 28) >> 8);

			/* ordered dither: ink where the sample is darker
			 * than the threshold. bayer4 is 0..15, scale to the
			 * 0..255 gray domain with a +8 midpoint so solid
			 * black and solid white both stay solid
			 */
			th = (uint8_t)(bayer4[((dy & 3) << 2) | (dx & 3)] * 16 + 8);
			if (gray < th)
			{
				ctx->canvas[dy * ART_STRIDE + (dx >> 3)] &=
					(uint8_t)~(0x80 >> (dx & 7));
			}
		}
	}

	return 1;
}

void art_render_fallback(uint8_t *canvas)
{
	memset(canvas, 0xff, ART_STRIDE * ART_H);

	for (int y = 0; y < icon_note.header.h; y++)
	{
		int dy = (ART_H - icon_note.header.h) / 2 + y;

		for (int x = 0; x < ART_W; x++)
		{
			int sx = x - (ART_W - icon_note.header.w) / 2;

			if (sx < 0 || sx >= icon_note.header.w)
			{
				continue;
			}
			if (!(icon_note.data[y * icon_note.header.stride + (sx >> 3)] &
				(0x80 >> (sx & 7))))
			{
				/* glyph bits are 0 (ink) in the I1 icons */
				canvas[dy * ART_STRIDE + (x >> 3)] &=
					(uint8_t)~(0x80 >> (x & 7));
			}
		}
	}
}

static int render_jpeg(const char *path, uint8_t *canvas)
{
	struct fs_file_t file;
	size_t offset;
	size_t len;
	struct art_ctx ctx;
	JDEC jdec;
	JRESULT res;
	uint8_t *pool;
	int scale_q16;
	int dest_w;
	int dest_h;
	int ret = -1;

	pool = k_malloc(ART_JPEG_POOL_SIZE);
	if (pool == NULL)
	{
		LOG_ERR("Art decode pool alloc failed");
		return -ENOMEM;
	}

	if (metadata_open_art(path, &file, &offset, &len))
	{
		k_free(pool);
		return -ENOENT;
	}

	ctx.file = &file;
	ctx.remaining = len;
	ctx.canvas = canvas;

	res = jd_prepare(&jdec, art_in_func, pool, ART_JPEG_POOL_SIZE, &ctx);
	if (res != JDR_OK || jdec.width == 0 || jdec.height == 0)
	{
		LOG_INF("Art prepare failed: %d", res);
		goto out;
	}

	LOG_INF("Art: %ux%u jpeg, %u bytes", jdec.width, jdec.height, (unsigned)len);

	/* Fit into the canvas without upscaling */
	scale_q16 = MIN(((int)ART_W << 16) / (int)jdec.width,
		((int)ART_H << 16) / (int)jdec.height);
	if (scale_q16 > (1 << 16))
	{
		scale_q16 = 1 << 16;
	}
	dest_w = ((int)jdec.width * scale_q16) >> 16;
	dest_h = ((int)jdec.height * scale_q16) >> 16;
	if (dest_w > ART_W)
	{
		dest_w = ART_W;
	}
	if (dest_h > ART_H)
	{
		dest_h = ART_H;
	}

	/* paper background; dithering clears bits for ink */
	memset(canvas, 0xff, ART_STRIDE * ART_H);
	ctx.scale_q16 = scale_q16;
	ctx.off_x = (ART_W - dest_w) / 2;
	ctx.off_y = (ART_H - dest_h) / 2;

	res = jd_decomp(&jdec, art_out_func, 0);
	if (res != JDR_OK)
	{
		LOG_INF("Art decompress failed: %d", res);
		goto out;
	}

	ret = 0;

out:
	sd_card_close(&file);
	k_free(pool);
	return ret;
}

int art_render(const char *path, uint8_t *canvas)
{
	if (render_jpeg(path, canvas) == 0)
	{
		return 0;
	}

	art_render_fallback(canvas);
	return -ENOENT;
}
```

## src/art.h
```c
#pragma once

#include <stdbool.h>
#include <stddef.h>
#include <stdint.h>

/* Album art canvas: 1bpp (LV_COLOR_FORMAT_I1), MSB-first rows.
 * Bit 1 = paper (white), bit 0 = ink (black), matching the mono
 * framebuffer convention of the display.
 */
#define ART_W 120
#define ART_H 120
#define ART_STRIDE ((ART_W + 7) / 8)

/* Decode the embedded JPEG album art of an MP3 into a dithered 1bpp
 * canvas (ART_STRIDE x ART_H bytes). Returns 0 when real album art
 * was rendered; on any failure the canvas is filled with the music
 * note fallback and -ENOENT is returned.
 */
int art_render(const char *path, uint8_t *canvas);

/* Fill the canvas with the music note glyph (for WAV / no art) */
void art_render_fallback(uint8_t *canvas);
```

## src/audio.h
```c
#pragma once

#include <zephyr/drivers/i2c.h>
#include <zephyr/drivers/i2s.h>

#include "sd_card.h"
#include "main.h"

int init_audio(void);

/* Volume change per volume-button press, in dB */
#define AUDIO_VOLUME_STEP_DB 2

int audio_volume_step(int step_db);
void stop_playback(struct app_state *state, bool close_file, bool drop_i2s);
int queue_one_block(struct app_state *state, bool *eof);
int prefill_and_start(struct app_state *state);
int start_song(struct app_state *state, const char *path);
int pause_song(struct app_state *state);
int resume_song(struct app_state *state);
```

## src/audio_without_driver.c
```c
// #include <zephyr/kernel.h>
// #include <zephyr/device.h>
// #include <zephyr/devicetree.h>

// #include <zephyr/logging/log.h>

// #include <zephyr/audio/codec.h>
// #include <zephyr/drivers/i2s.h>
// #include <zephyr/drivers/i2c.h>

// #include "i2c_dac.c"
// #include "audio_snippet.h"
// #include "audio_without_driver.h"

// LOG_MODULE_REGISTER(AUDIO, LOG_LEVEL_DBG);

// #define DAC_NODE DT_NODELABEL(tad5212)
// static const struct i2c_dt_spec dac = I2C_DT_SPEC_GET(DAC_NODE);

// #define SAMPLE_FREQUENCY 16000
// #define SAMPLE_BIT_WIDTH 16
// #define BYTES_PER_SAMPLE 2
// #define NUMBER_OF_CHANNELS (2U) /* Such block length provides an echo with the delay of 100 ms. */
// #define SAMPLES_PER_BLOCK ((SAMPLE_FREQUENCY / 10) * NUMBER_OF_CHANNELS)
// #define INITIAL_BLOCKS 4
// #define TIMEOUT (2000U)

// #define BLOCK_SIZE (BYTES_PER_SAMPLE * SAMPLES_PER_BLOCK)
// #define BLOCK_COUNT (INITIAL_BLOCKS + 32)

// K_MEM_SLAB_DEFINE_IN_SECT_STATIC(mem_slab, __nocache, BLOCK_SIZE, BLOCK_COUNT, 4);

// // I2S
// #define I2S_NODE DT_NODELABEL(i2s0)
// static const struct device *i2s_dev = DEVICE_DT_GET(I2S_NODE);

// struct i2s_config audio_bus_config = {
//     .word_size = SAMPLE_BIT_WIDTH,
//     .channels = NUMBER_OF_CHANNELS,
//     .format = I2S_FMT_DATA_FORMAT_I2S,
//     .options = I2S_OPT_BIT_CLK_MASTER | I2S_OPT_FRAME_CLK_MASTER,
//     .frame_clk_freq = SAMPLE_FREQUENCY,
//     .mem_slab = &mem_slab,
//     .block_size = BLOCK_SIZE,
//     .timeout = TIMEOUT,
// };

// static bool trigger_command(const struct device *i2s_dev_codec, enum i2s_trigger_cmd cmd)
// {
//     int ret;

//     ret = i2s_trigger(i2s_dev_codec, I2S_DIR_TX, cmd);
//     if (ret < 0)
//     {
//         printk("Failed to trigger command %d on TX: %d\n", cmd, ret);
//         return false;
//     }

//     return true;
// }

// #define CFG_META_SWITCH (255)
// #define CFG_META_DELAY (254)
// #define CFG_META_BURST (253)

// int configure_audio()
// {
//     int ret = 0;

//     if (!device_is_ready(i2s_dev))
//     {
//         LOG_ERR("%s is not ready\n", i2s_dev->name);
//         return -1;
//     }

//     if (!i2c_is_ready_dt(&dac))
//     {
//         LOG_ERR("%s is not ready", dac.bus->name);
//         return -1;
//     }

//     transmit_registers(registers, sizeof(registers) / sizeof(registers[0]), &dac);

//     k_msleep(1000);

//     ret = i2s_configure(i2s_dev, I2S_DIR_TX, &audio_bus_config);
//     if (ret < 0)
//     {
//         LOG_ERR("i2s_configure failed: %d", ret);
//         return -1;
//     }

//     return 0;
// }

// int play_sine_wave()
// {
//     int ret = 0;
//     for (;;)
//     {
//         bool started = false;

//         while (1)
//         {
//             void *mem_block;
//             uint32_t block_size = BLOCK_SIZE;
//             int i;

//             for (i = 0; i < INITIAL_BLOCKS; i++)
//             {

//                 BUILD_ASSERT(
//                     BLOCK_SIZE <= __16kHz16bit_stereo_sine_pcm_len,
//                     "BLOCK_SIZE is bigger than test sine wave buffer size.");
//                 mem_block = (void *)&__16kHz16bit_stereo_sine_pcm;

//                 ret = i2s_buf_write(i2s_dev, mem_block, block_size);
//                 if (ret < 0)
//                 {
//                     LOG_ERR("Failed to write data: %d", ret);
//                     break;
//                 }
//                 LOG_INF("Wrote block %d", i);
//             }
//             if (ret < 0)
//             {
//                 LOG_ERR("error %d", ret);
//                 break;
//             }
//             if (!started)
//             {
//                 i2s_trigger(i2s_dev, I2S_DIR_TX, I2S_TRIGGER_START);
//                 started = true;
//             }
//         }
//         if (!trigger_command(i2s_dev, I2S_TRIGGER_DROP))
//         {
//             LOG_ERR("Send I2S trigger DRAIN failed: %d", ret);
//             return 0;
//         }

//         LOG_INF("Streams stopped");
//         return 0;
//     }
// }

// void audio_thread_func(void *arg1, void *arg2, void *arg3)
// {
//     if (configure_audio() == 0)
//     {
//         play_sine_wave();
//     }
// }

// // K_THREAD_DEFINE(audio_thread_id, 4096, audio_thread_func, NULL, NULL, NULL, 7, 0, 0);
```

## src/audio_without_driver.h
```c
typedef unsigned char cfg_u8;
typedef union
{
    struct
    {
        cfg_u8 offset;
        cfg_u8 value;
    };
    struct
    {
        cfg_u8 command;
        cfg_u8 param;
    };
} cfg_reg;

#define CFG_META_SWITCH (255)
#define CFG_META_DELAY (254)
#define CFG_META_BURST (253)

/* Example C code */
/*
    // Externally implemented function that can write n-bytes to the device
    // Refer to the device data sheet for more information.
    extern int i2c_write(unsigned char *data, int n);
    // Externally implemented function that delays execution by n milliseconds
    extern int delay(int n);
    // Example implementation.  Call like:
    //     transmit_registers(registers, sizeof(registers)/sizeof(registers[0]));
    void transmit_registers(cfg_reg *r, int n)
    {
        int i = 0;
        while (i < n) {
            switch (r[i].command) {
            case CFG_META_SWITCH:
                // Used in legacy applications.  Ignored here.
                break;
            case CFG_META_DELAY:
                delay(r[i].param);
                break;
            case CFG_META_BURST:
                i2c_write((unsigned char *)&r[i+1], r[i].param);
                i +=  (r[i].param / 2) + 1;
                break;
            default:
                i2c_write((unsigned char *)&r[i], 2);
                break;
            }
            i++;
        }
    }
 */

cfg_reg registers[] = {
#define CHECKSUM (0)
    // Page 0 (0x00) Dump
    // Select page 0
    {0x00, 0x00},
    {0x7f, 0x00},
    {0x00, 0x00},
    {0x02, 0x09},
    {0x19, 0x10},
    {0x1a, 0x40},
    {0x29, 0x30},
    {0x2f, 0x9f},
    {0x32, 0x70},
    {0x33, 0x04},
    {0x64, 0x28},
    {0x65, 0x60},
    {0x67, 0xb8},
    {0x6b, 0x28},
    {0x6c, 0x60},
    {0x6e, 0xb8},
    // Page 1 (0x01) Dump
    // Select page 1
    {0x00, 0x01},
    {0x4a, 0x00},
    // Page 10 (0x0a) Dump
    // Select page 10
    {0x00, 0x0a},
    {0x5f, 0xa1},
    {0x60, 0x80},
    // Page 17 (0x011) Dump
    // Select page 17
    {0x00, 0x11},
    {0x0a, 0x00},
    {0x10, 0x00},
    {0x1e, 0x00},
    {0x24, 0x00},
    {0x4a, 0x00},
    {0x4e, 0x00},
    {0x50, 0x00},
    {0x54, 0x00},
    {0x79, 0xfd},
    {0x7a, 0xdb},
    {0x7b, 0x00},
    {0x7c, 0x80},
    {0x7d, 0x02},
    {0x7e, 0x25},
    // Page 18 (0x012) Dump
    // Select page 18
    {0x00, 0x12},
    {0x08, 0x7f},
    {0x09, 0xfb},
    {0x0a, 0xb6},
    {0x0b, 0x01},
    {0x20, 0x61},
    {0x21, 0x1b},
    {0x22, 0xea},
    {0x23, 0x00},
    {0x24, 0x3a},
    {0x25, 0x91},
    {0x26, 0x64},
    {0x27, 0xb6},
    {0x28, 0x14},
    {0x29, 0x92},
    {0x2a, 0xf0},
    {0x2b, 0x00},
    {0x2c, 0x63},
    {0x2d, 0x9c},
    {0x2e, 0x65},
    {0x2f, 0x9c},
    // Page 25 (0x019) Dump
    // Select page 25
    {0x00, 0x19},
    {0x6f, 0x0f},
    // Page 26 (0x01a) Dump
    // Select page 26
    {0x00, 0x1a},
    {0x1e, 0x00},
    {0x3a, 0x00},
    {0x40, 0x00},
    {0x41, 0x0a},
    {0x42, 0x5c},
    {0x43, 0xb6},
    {0x44, 0xe0},
    {0x45, 0x00},
    {0x46, 0x00},
    {0x47, 0x00},
    // Page 27 (0x01b) Dump
    // Select page 27
    {0x00, 0x1b},
    {0x66, 0x00},
    {0x67, 0x00},
    {0x6a, 0x00},
    {0x6e, 0x80},
    {0x7a, 0x00},
    {0x7b, 0x00},
    // Page 28 (0x01c) Dump
    // Select page 28
    {0x00, 0x1c},
    {0x24, 0x01},
    {0x25, 0x26},
    {0x26, 0xe9},
    {0x27, 0x78},
    {0x28, 0x7f},
    {0x29, 0xff},
    {0x2a, 0xff},
    {0x2b, 0xff},
    {0x34, 0x18},
    {0x52, 0x03},
    {0x53, 0xc0},
    // Power up/down
    // Select page 0
    {0x00, 0x00},
    {0x78, 0x40},

};
```

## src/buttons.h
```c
#pragma once

#include <zephyr/sys/atomic.h>

int init_buttons(void);
int buttons_take_power_events(void);
int buttons_take_left_events(void);
int buttons_take_right_events(void);
int buttons_take_volume_up_events(void);
int buttons_take_volume_down_events(void);
```
